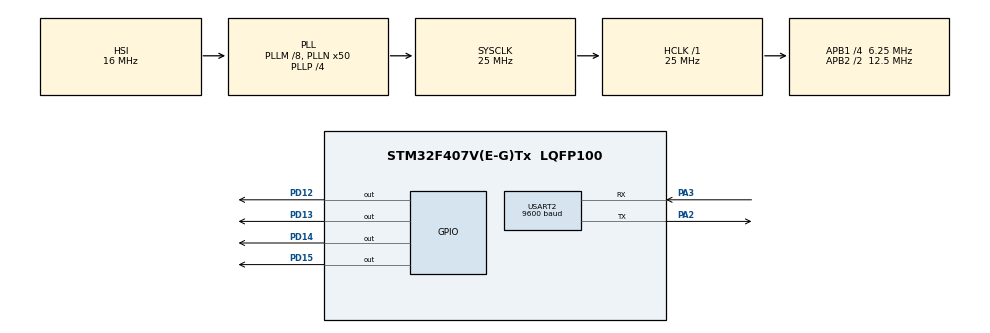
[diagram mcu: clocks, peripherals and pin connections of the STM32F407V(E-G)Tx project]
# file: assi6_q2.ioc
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Mcu.Family=STM32F4
Mcu.Name=STM32F407V(E-G)Tx
Mcu.Package=LQFP100
NVIC.PriorityGroup=NVIC_PRIORITYGROUP_0
PA2.Mode=Asynchronous
PA2.Signal=USART2_TX
PA3.Mode=Asynchronous
PA3.Signal=USART2_RX
PD12.Signal=GPIO_Output
PD13.Signal=GPIO_Output
PD14.Signal=GPIO_Output
PD15.Signal=GPIO_Output
ProjectManager.HeapSize=0x200
ProjectManager.StackSize=0x400
ProjectManager.TargetToolchain=STM32CubeIDE
RCC.48MHZClocksFreq_Value=14285714.285714285
RCC.AHBFreq_Value=25000000
RCC.APB1CLKDivider=RCC_HCLK_DIV4
RCC.APB1Freq_Value=6250000
RCC.APB1TimFreq_Value=12500000
RCC.APB2CLKDivider=RCC_HCLK_DIV2
RCC.APB2Freq_Value=12500000
RCC.APB2TimFreq_Value=25000000
RCC.CortexFreq_Value=25000000
RCC.HCLKFreq_Value=25000000
RCC.HSE_VALUE=8000000
RCC.HSI_VALUE=16000000
RCC.LSE_VALUE=32768
RCC.PLLM=8
RCC.PLLN=50
RCC.PLLP=RCC_PLLP_DIV4
RCC.PLLQ=7
RCC.SYSCLKFreq_VALUE=25000000
RCC.SYSCLKSource=RCC_SYSCLKSOURCE_PLLCLK
RCC.VCOOutputFreq_Value=100000000
USART2.BaudRate=9600
USART2.VirtualMode=VM_ASYNC
board=STM32F407G-DISC1

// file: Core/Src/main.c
/* USER CODE BEGIN Header */
/**
  ******************************************************************************
  * @file           : main.c
  * @brief          : Main program body
  ******************************************************************************
  * @attention
  *
  * Copyright (c) 2025 STMicroelectronics.
  * All rights reserved.
  *
  * This software is licensed under terms that can be found in the LICENSE file
  * in the root directory of this software component.
  * If no LICENSE file comes with this software, it is provided AS-IS.
  *
  ******************************************************************************
  */
/* USER CODE END Header */
#include "main.h"

/* USER CODE BEGIN Includes */
#include<string.h>

#define MAX_LENGTH 100
uint8_t rx_byte;
char rx_buffer[MAX_LENGTH];
uint16_t rx_index = 0;
/* USER CODE END Includes */

UART_HandleTypeDef huart2;

void SystemClock_Config(void);
static void MX_GPIO_Init(void);
static void MX_USART2_UART_Init(void);

int main(void)
{

  /* USER CODE BEGIN 1 */
	char msg[50] = "Assignment 6\r\nQuestion 2 :\r\n";
  /* USER CODE END 1 */

  /* MCU Configuration--------------------------------------------------------*/

  /* Reset of all peripherals, Initializes the Flash interface and the Systick. */
  HAL_Init();

  /* Configure the system clock */
  SystemClock_Config();

  /* Initialize all configured peripherals */
  MX_GPIO_Init();
  MX_USART2_UART_Init();
  /* USER CODE BEGIN 2 */
  HAL_UART_Transmit(&huart2, (uint8_t *)msg, strlen(msg), HAL_MAX_DELAY);

  char msg1[] = "Enter whether to turn red led or orange led : \r\n";
  HAL_UART_Transmit(&huart2, (uint8_t *)msg1, strlen(msg1), HAL_MAX_DELAY);
  /* USER CODE END 2 */

  /* Infinite loop */
  while (1)
  {

    /* USER CODE BEGIN 3 */

	  HAL_UART_Receive(&huart2, &rx_byte, 1, HAL_MAX_DELAY);

	  HAL_UART_Transmit(&huart2, &rx_byte, 1, HAL_MAX_DELAY);

	  if(rx_byte == '\r'){
		  rx_buffer[rx_index] = '\0';

		  strlwr(rx_buffer);

		  if(strcmp(rx_buffer,"red")==0 || strcmp(rx_buffer,"red led")==0)
		  {
			  HAL_GPIO_TogglePin(GPIOD, GPIO_PIN_14);
			  char msg2[] = "Red light toggled \r\n";
			  HAL_UART_Transmit(&huart2, (uint8_t *)msg2, strlen(msg2), HAL_MAX_DELAY);
		  }
		  else if(strcmp(rx_buffer,"orange")==0 || strcmp(rx_buffer,"orange led")==0){
			  HAL_GPIO_TogglePin(GPIOD, GPIO_PIN_13);
			  char msg3[] = "Orange light toggled \r\n";
			  HAL_UART_Transmit(&huart2, (uint8_t *)msg3, strlen(msg3), HAL_MAX_DELAY);
		  }
		  else {
			  char msg4[] = "Invalid command\r\n";
			  HAL_UART_Transmit(&huart2, (uint8_t *)msg4, strlen(msg4), HAL_MAX_DELAY);
		  }

		  rx_index = 0;
	  }
	  else {
		  if(rx_index < MAX_LENGTH - 1){
			  rx_buffer[rx_index++] = rx_byte;
		  }
	  }
  }
  /* USER CODE END 3 */
}

void SystemClock_Config(void)
{
  RCC_OscInitTypeDef RCC_OscInitStruct = {0};
  RCC_ClkInitTypeDef RCC_ClkInitStruct = {0};

  /** Configure the main internal regulator output voltage
  */
  __HAL_RCC_PWR_CLK_ENABLE();
  __HAL_PWR_VOLTAGESCALING_CONFIG(PWR_REGULATOR_VOLTAGE_SCALE1);

  /** Initializes the RCC Oscillators according to the specified parameters
  * in the RCC_OscInitTypeDef structure.
  */
  RCC_OscInitStruct.OscillatorType = RCC_OSCILLATORTYPE_HSI;
  RCC_OscInitStruct.HSIState = RCC_HSI_ON;
  RCC_OscInitStruct.HSICalibrationValue = RCC_HSICALIBRATION_DEFAULT;
  RCC_OscInitStruct.PLL.PLLState = RCC_PLL_ON;
  RCC_OscInitStruct.PLL.PLLSource = RCC_PLLSOURCE_HSI;
  RCC_OscInitStruct.PLL.PLLM = 8;
  RCC_OscInitStruct.PLL.PLLN = 50;
  RCC_OscInitStruct.PLL.PLLP = RCC_PLLP_DIV4;
  RCC_OscInitStruct.PLL.PLLQ = 7;
  if (HAL_RCC_OscConfig(&RCC_OscInitStruct) != HAL_OK)
  {
    Error_Handler();
  }

  /** Initializes the CPU, AHB and APB buses clocks
  */
  RCC_ClkInitStruct.ClockType = RCC_CLOCKTYPE_HCLK|RCC_CLOCKTYPE_SYSCLK
                              |RCC_CLOCKTYPE_PCLK1|RCC_CLOCKTYPE_PCLK2;
  RCC_ClkInitStruct.SYSCLKSource = RCC_SYSCLKSOURCE_PLLCLK;
  RCC_ClkInitStruct.AHBCLKDivider = RCC_SYSCLK_DIV1;
  RCC_ClkInitStruct.APB1CLKDivider = RCC_HCLK_DIV4;
  RCC_ClkInitStruct.APB2CLKDivider = RCC_HCLK_DIV2;

  if (HAL_RCC_ClockConfig(&RCC_ClkInitStruct, FLASH_LATENCY_0) != HAL_OK)
  {
    Error_Handler();
  }
}

static void MX_USART2_UART_Init(void)
{

  huart2.Instance = USART2;
  huart2.Init.BaudRate = 9600;
  huart2.Init.WordLength = UART_WORDLENGTH_8B;
  huart2.Init.StopBits = UART_STOPBITS_1;
  huart2.Init.Parity = UART_PARITY_NONE;
  huart2.Init.Mode = UART_MODE_TX_RX;
  huart2.Init.HwFlowCtl = UART_HWCONTROL_NONE;
  huart2.Init.OverSampling = UART_OVERSAMPLING_16;
  if (HAL_UART_Init(&huart2) != HAL_OK)
  {
    Error_Handler();
  }

}

static void MX_GPIO_Init(void)
{
  GPIO_InitTypeDef GPIO_InitStruct = {0};

  /* GPIO Ports Clock Enable */
  __HAL_RCC_GPIOA_CLK_ENABLE();
  __HAL_RCC_GPIOD_CLK_ENABLE();

  /*Configure GPIO pin Output Level */
  HAL_GPIO_WritePin(GPIOD, GPIO_PIN_12|GPIO_PIN_13|GPIO_PIN_14|GPIO_PIN_15, GPIO_PIN_RESET);

  /*Configure GPIO pins : PD12 PD13 PD14 PD15 */
  GPIO_InitStruct.Pin = GPIO_PIN_12|GPIO_PIN_13|GPIO_PIN_14|GPIO_PIN_15;
  GPIO_InitStruct.Mode = GPIO_MODE_OUTPUT_PP;
  GPIO_InitStruct.Pull = GPIO_NOPULL;
  GPIO_InitStruct.Speed = GPIO_SPEED_FREQ_LOW;
  HAL_GPIO_Init(GPIOD, &GPIO_InitStruct);

}

void Error_Handler(void)
{
  __disable_irq();
  while (1)
  {
  }
}
